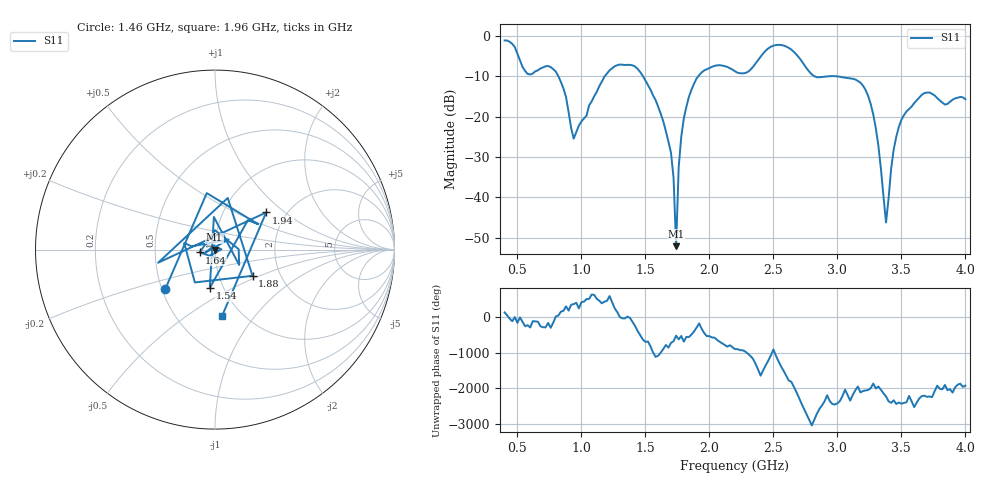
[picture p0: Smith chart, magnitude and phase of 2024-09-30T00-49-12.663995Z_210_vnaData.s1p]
!Created with skrf (http://scikit-rf.org).
# Hz S RI R 50.0
!freq ReS11 ImS11
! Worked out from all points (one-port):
!   181 points, 400 MHz to 4 GHz, reference 50 ohm
!   lowest |S11| = -52.1 dB at 1.74 GHz (marker M1), VSWR 1.00, Z = 49.8 - j0.111 ohm
!   |S11| at or under -10 dB: 819.7 MHz to 1.183 GHz (363.5 MHz wide, 36.3 % of centre); 1.481 GHz to 1.914 GHz (433 MHz wide, 25.5 % of centre); 2.982 GHz to end of sweep (the widest 3 of 4)
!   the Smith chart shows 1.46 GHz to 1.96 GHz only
!   S11 on the Smith chart (normalised r, x): 1.46 GHz: 0.52, -0.26; 1.54 GHz: 0.86, -0.39; 1.64 GHz: 0.84, -0.03; 1.88 GHz: 1.45, -0.45; 1.94 GHz: 1.58, +0.75; 1.96 GHz: 0.81, -0.70
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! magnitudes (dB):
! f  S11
! 400 MHz  -1.2
! 580 MHz  -9.5
! 740 MHz  -7.5
! 860 MHz  -13.1
! 940 MHz  -25.5
! 1.3 GHz  -7.1
! 1.46 GHz  -9.0
! 1.54 GHz  -13.3
! 1.64 GHz  -21.2
! 1.7 GHz  -29.0
! 1.72 GHz  -35.2
! 1.74 GHz  -52.1
! 1.76 GHz  -32.6
! 1.8 GHz  -20.5
! 1.88 GHz  -11.9
! 1.94 GHz  -9.1
! 1.96 GHz  -8.6
! 2.2 GHz  -8.8
! 2.66 GHz  -4.0
! 2.82 GHz  -10.0
! 3.1 GHz  -10.6
! 3.26 GHz  -16.9
! 3.32 GHz  -27.2
! 3.38 GHz  -46.2
! 3.46 GHz  -25.0
! 3.56 GHz  -18.1
! 3.7 GHz  -14.1
! 4 GHz  -15.7
